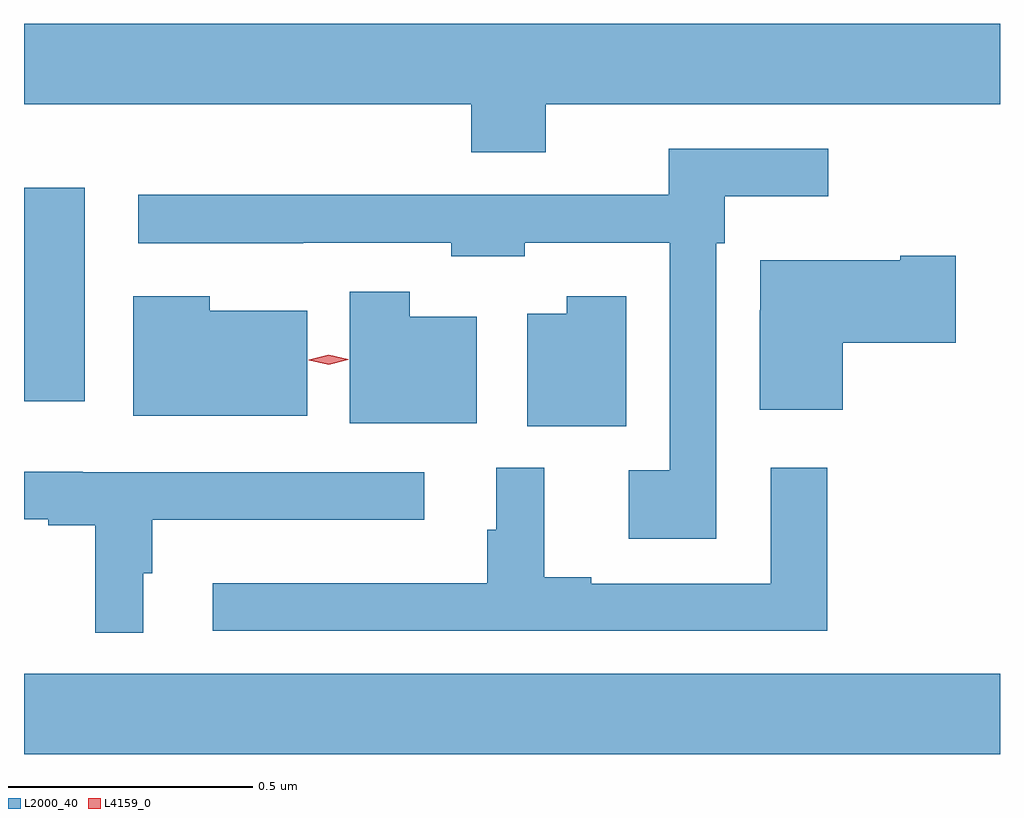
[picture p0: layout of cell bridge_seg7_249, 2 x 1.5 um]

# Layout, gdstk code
import gdstk
lib = gdstk.Library(unit=1e-6, precision=1e-09)
def R(c, l, rs):  # rectangles x0, y0, x1, y1
    for r in rs: c.add(gdstk.rectangle(r[:2], r[2:], *l))
def P(c, l, *ps):  # polygons
    for p in ps: c.add(gdstk.Polygon(p, *l))
L2000_40 = (2000, 40)
L4159_0 = (4159, 0)

bridge_seg7_249 = lib.new_cell('bridge_seg7_249')
R(bridge_seg7_249, L2000_40, [(313.212,1023.26,315.212,1023.424), (313.212,1023.983,313.336,1024.42)])
P(bridge_seg7_249, L2000_40, [(314.281,1024.592),(315.212,1024.592),(315.212,1024.756),(313.212,1024.756),(313.212,1024.592),(314.129,1024.592),(314.129,1024.493),(314.281,1024.493)],
  [(314.631,1024.307),(314.648,1024.307),(314.648,1024.403),(314.86,1024.403),(314.86,1024.5),(314.533,1024.5),(314.533,1024.406),(313.446,1024.406),(313.446,1024.307),(313.784,1024.307),(313.784,1024.308),(314.088,1024.308),(314.088,1024.28),(314.238,1024.28),(314.238,1024.308),(314.535,1024.308),(314.535,1023.841),(314.451,1023.841),(314.451,1023.701),(314.631,1023.701)],
  [(314.89,1024.103),(315.121,1024.103),(315.121,1024.281),(315.008,1024.281),(315.008,1024.272),(314.721,1024.272),(314.721,1024.169),(314.72,1024.169),(314.72,1023.965),(314.89,1023.965)],
  [(314.14,1024.156),(314.002,1024.156),(314.002,1024.207),(313.88,1024.207),(313.88,1023.938),(314.14,1023.938)],
  [(314.446,1024.198),(314.324,1024.198),(314.324,1024.162),(314.243,1024.162),(314.243,1023.932),(314.446,1023.932)],
  [(313.792,1024.168),(313.593,1024.168),(313.593,1024.198),(313.436,1024.198),(313.436,1023.953),(313.792,1023.953)],
  [(314.858,1023.847),(314.742,1023.847),(314.742,1023.609),(314.374,1023.609),(314.374,1023.622),(314.278,1023.622),(314.278,1023.847),(314.18,1023.847),(314.18,1023.72),(314.161,1023.72),(314.161,1023.61),(313.599,1023.61),(313.599,1023.513),(314.858,1023.513)],
  [(313.456,1023.63),(313.475,1023.63),(313.475,1023.74),(314.032,1023.74),(314.032,1023.837),(313.332,1023.837),(313.332,1023.838),(313.212,1023.838),(313.212,1023.741),(313.262,1023.741),(313.262,1023.729),(313.358,1023.729),(313.358,1023.509),(313.456,1023.509)])
P(bridge_seg7_249, L4159_0, [(313.836,1024.058),(313.796,1024.067),(313.796,1024.068),(313.796,1024.068),(313.836,1024.078),(313.876,1024.069),(313.876,1024.068),(313.876,1024.068)])

lib.write_gds('bridge_seg7_249.gds')
